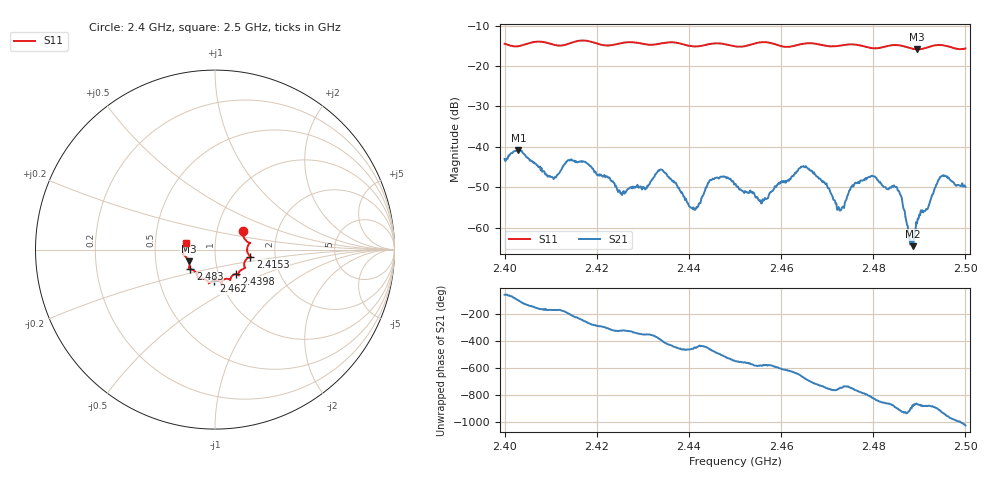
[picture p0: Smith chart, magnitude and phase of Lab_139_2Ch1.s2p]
# Hz S RI R 50
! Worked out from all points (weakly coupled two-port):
!   601 points, 2.4 GHz to 2.5 GHz, reference 50 ohm
!   highest |S21| = -40.75 dB at 2.403 GHz (marker M1); lowest = -64.5 dB at 2.4887 GHz (marker M2)
!   lowest |S11| = -15.9 dB at 2.4895 GHz (marker M3), VSWR 1.38, Z = 37 - j4.99 ohm
!   |S11| at or under -10 dB: start of sweep to end of sweep
!   S12 and S22 are empty: the file has one direction only
!   S11 on the Smith chart (normalised r, x): 2.4 GHz: 1.33, +0.29; 2.4153 GHz: 1.48, -0.12; 2.4398 GHz: 1.21, -0.34; 2.462 GHz: 0.93, -0.33; 2.483 GHz: 0.74, -0.17; 2.5 GHz: 0.72, +0.06
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2.4e9  0.1551 0.1064  0.00362 -0.0061  0 0  0 0
2.403e9  0.1652 0.0593  -0.00174 -0.00901  0 0  0 0
2.410167e9  0.1847 0.024  -0.00422 -0.000544  0 0  0 0
2.415333e9  0.1963 -0.0388  -0.00459 0.00456  0 0  0 0
2.416667e9  0.2019 -0.0427  -0.00312 0.0059  0 0  0 0
2.425667e9  0.1662 -0.0989  0.00222 0.00166  0 0  0 0
2.433333e9  0.1311 -0.1336  0.00484 -0.00165  0 0  0 0
2.439833e9  0.1152 -0.1361  -0.000455 -0.00193  0 0  0 0
2.4455e9  0.0849 -0.1696  -0.0019 -0.00353  0 0  0 0
2.45e9  0.0648 -0.1625  -0.00347 0.00052  0 0  0 0
2.455833e9  0.0379 -0.1931  -0.00146 0.00138  0 0  0 0
2.462e9  -0.00547 -0.1733  -0.000589 0.0039  0 0  0 0
2.466667e9  -0.0343 -0.1877  0.00487 0.00144  0 0  0 0
2.472667e9  -0.0768 -0.1605  0.00142 -0.000816  0 0  0 0
2.479167e9  -0.1043 -0.132  0.000367 -0.00425  0 0  0 0
2.483e9  -0.1375 -0.1094  -0.00232 -0.0019  0 0  0 0
2.483333e9  -0.14 -0.1093  -0.00239 -0.00181  0 0  0 0
2.485667e9  -0.1457 -0.1056  -0.00275 0.00039  0 0  0 0
2.488667e9  -0.143 -0.0776  -0.000557 -0.000204  0 0  0 0
2.4895e9  -0.1461 -0.0657  -0.000918 -0.000654  0 0  0 0
2.494667e9  -0.1802 -0.0209  -0.0041 0.00127  0 0  0 0
2.5e9  -0.1598 0.0394  0.00175 0.00268  0 0  0 0
